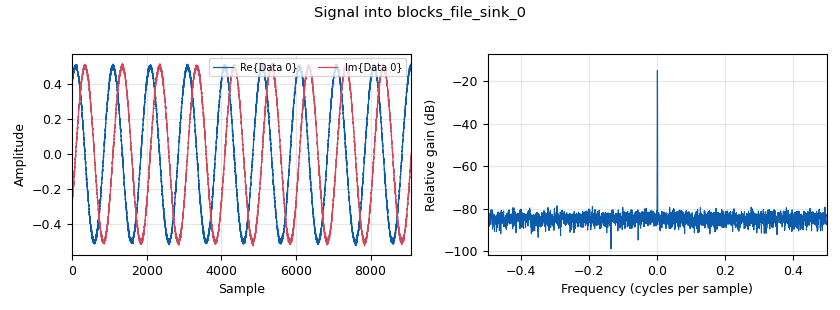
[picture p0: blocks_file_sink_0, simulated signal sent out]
options:
  parameters:
    author: PHYSEC Control Layer
    category: '[PHYSEC]'
    description: Sinusoidal Probe Transmission Flowgraph
    generate_options: qt_gui
    id: sinusoidal_probe
    output_language: python
    title: Sinusoidal Probe Transmission
  states: {}

blocks:
- name: center_freq
  id: variable
  parameters:
    value: 2.4e9
  states: {}
- name: sample_rate
  id: variable
  parameters:
    value: 1e6
  states: {}
- name: frequency
  id: variable
  parameters:
    value: '1000'
  states: {}
- name: amplitude
  id: variable
  parameters:
    value: '0.5'
  states: {}
- name: analog_sig_source_x_0
  id: analog_sig_source_x
  parameters:
    amp: amplitude
    comment: |-
      Sinusoidal signal source
      Generates 1 kHz probe tone
    freq: frequency
    offset: '0'
    phase: '0'
    samp_rate: sample_rate
    type: complex
    waveform: analog.GR_SIN_WAVE
  states: {}
- name: blocks_add_xx_0
  id: blocks_add_xx
  parameters:
    comment: |-
      Signal + Noise
      Adds small amount of noise for realism
    type: complex
  states: {}
- name: analog_noise_source_x_0
  id: analog_noise_source_x
  parameters:
    amp: '0.01'
    comment: |-
      Noise source
      Adds realistic channel noise
    noise_type: analog.GR_GAUSSIAN
    seed: '0'
    type: complex
  states: {}
- name: blocks_throttle_0
  id: blocks_throttle
  parameters:
    comment: |-
      Throttle
      Controls data rate for file sink
    samples_per_second: sample_rate
    type: complex
  states: {}
- name: blocks_file_sink_0
  id: blocks_file_sink
  parameters:
    comment: |-
      File output
      Saves signal to file when SDR unavailable
    file: /tmp/sinusoidal_probe_output.dat
    type: complex
  states: {}

connections:
- [analog_sig_source_x_0, '0', blocks_add_xx_0, '0']
- [analog_noise_source_x_0, '0', blocks_add_xx_0, '1']
- [blocks_add_xx_0, '0', blocks_throttle_0, '0']
- [blocks_throttle_0, '0', blocks_file_sink_0, '0']

metadata:
  file_format: 1
